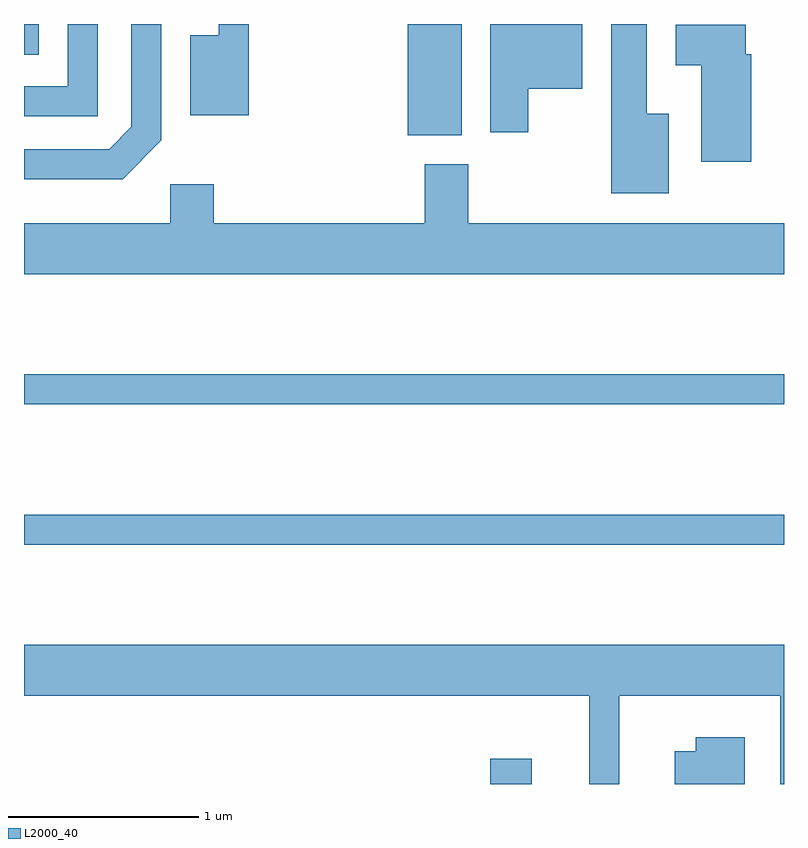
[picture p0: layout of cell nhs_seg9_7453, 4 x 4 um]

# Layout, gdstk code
import gdstk
lib = gdstk.Library(unit=1e-6, precision=1e-09)
def R(c, l, rs):  # rectangles x0, y0, x1, y1
    for r in rs: c.add(gdstk.rectangle(r[:2], r[2:], *l))
def P(c, l, *ps):  # polygons
    for p in ps: c.add(gdstk.Polygon(p, *l))
L2000_40 = (2000, 40)

nhs_seg9_7453 = lib.new_cell('nhs_seg9_7453')
R(nhs_seg9_7453, L2000_40, [(408.066,2022.432,408.284,2022.564), (405.611,2023.691,409.611,2023.849), (405.611,2024.431,409.611,2024.589), (407.631,2025.846,407.914,2026.432), (405.611,2026.271,405.689,2026.432)])
P(nhs_seg9_7453, L2000_40, [(405.999,2026.432),(405.841,2026.432),(405.841,2026.104),(405.611,2026.104),(405.611,2025.946),(405.999,2025.946)],
  [(406.794,2026.432),(406.636,2026.432),(406.636,2026.374),(406.486,2026.374),(406.486,2025.951),(406.794,2025.951)],
  [(406.334,2025.819),(406.334,2026.432),(406.176,2026.432),(406.176,2025.892),(406.059,2025.774),(405.611,2025.774),(405.611,2025.616),(406.132,2025.616)],
  [(408.264,2026.091),(408.549,2026.091),(408.549,2026.432),(408.066,2026.432),(408.066,2025.861),(408.264,2025.861)],
  [(409.004,2025.959),(408.889,2025.959),(408.889,2026.432),(408.701,2026.432),(408.701,2025.541),(409.004,2025.541)],
  [(409.439,2026.274),(409.409,2026.274),(409.409,2026.429),(409.041,2026.429),(409.041,2026.216),(409.176,2026.216),(409.176,2025.706),(409.439,2025.706)],
  [(409.611,2025.384),(407.949,2025.384),(407.949,2025.694),(407.721,2025.694),(407.721,2025.384),(406.609,2025.384),(406.609,2025.589),(406.381,2025.589),(406.381,2025.384),(405.611,2025.384),(405.611,2025.116),(409.611,2025.116)],
  [(408.744,2022.896),(409.591,2022.896),(409.591,2022.432),(409.611,2022.432),(409.611,2023.164),(405.611,2023.164),(405.611,2022.896),(408.586,2022.896),(408.586,2022.432),(408.744,2022.432)],
  [(409.404,2022.679),(409.146,2022.679),(409.146,2022.604),(409.036,2022.604),(409.036,2022.432),(409.404,2022.432)])

lib.write_gds('nhs_seg9_7453.gds')
